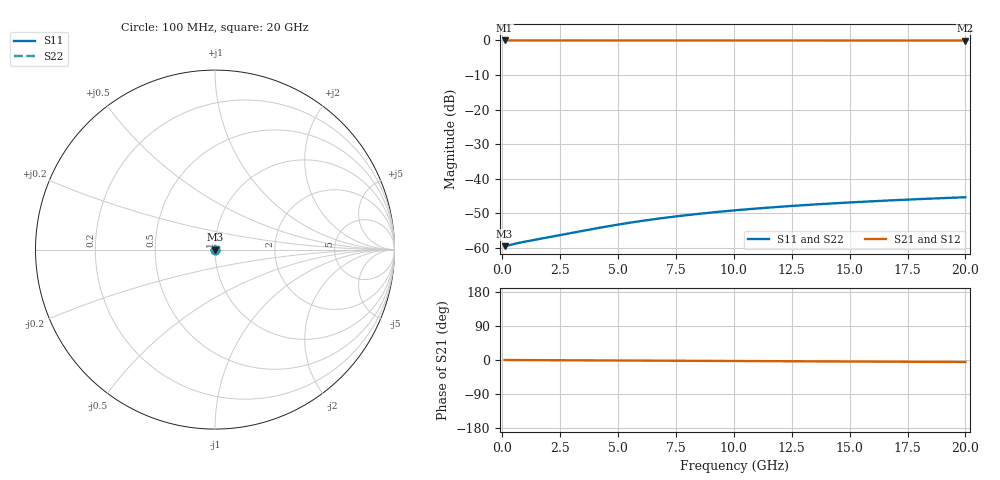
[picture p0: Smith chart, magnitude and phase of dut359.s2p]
! Touchstone file exported from HFSS 2026.1.0
!  File:  C:/ffzhzh/LocalFiles/Ansys_Project_Files/temp_train_TSV_359_1783019278_51716.aedt
!  Generated:  03:10:11 AM Jul  3, 2026
!  Design:  TSV
!  Project:  temp_train_TSV_359_1783019278_51716
! Variables:
!  h_bsmrdl = 2um
!  h_ox = 20um
!  h_rdl = 5um
!  h_sub = 57.02um
!  h_tmrdl = 5um
!  h_tsv = 57.02um
!  h_via = 3um
!  l_bsmrdl = 300um
!  l_sub = 405.06um
!  l_tmrdl = 200um
!  m_sub = 200um
!  pitch = 10.94um
!  r_tsv = 2.53um
!  s_tmrdl = 10um
!  w_bsmrdl = 18um
!  w_sub = 500um
!  w_tmrdl = 12um
!  x_tsv_center1 = 206um
!  x_tsv_center2 = 524um
!  x_tsv_center3 = 736um
!  x_tsv_center4 = 1054um
!  x_tsv_center5 = 1266um
!  x_tsv_center6 = 1584um
# GHz S MA R 50.000000
! Terminal data exported
! Port[1] = TSV1_1_T1
! Port[2] = TSV1_1_T2
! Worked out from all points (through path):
!   200 points, 100 MHz to 20 GHz, reference 50 ohm
!   highest |S21| = -0.01 dB at 100 MHz (marker M1); lowest = 0.0 dB at 20 GHz (marker M2)
!   lowest |S11| = -59.5 dB at 100 MHz (marker M3), VSWR 1.00, Z = 50.1 + j0.00546 ohm
!   |S11| at or under -10 dB: start of sweep to end of sweep
!   |S22| runs from -59.5 to -45.4 dB; largest |S21 - S12| = 4.6e-15
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0.1  0.001054 3.0  0.9989 -0.0  0.9989 -0.0  0.001054 3.0
! Gamma 0 0 0 0
! Port Impedance 50 0 50 0
0.2  0.001068 5.7  0.9989 -0.1  0.9989 -0.1  0.001068 5.7
0.6  0.001153 13.4  0.9989 -0.2  0.9989 -0.2  0.001153 13.4
0.9  0.001211 17.4  0.9988 -0.2  0.9988 -0.2  0.001211 17.4
2.1  0.001434 30.1  0.9988 -0.6  0.9988 -0.6  0.001434 30.1
3.5  0.001763 40.1  0.9987 -0.9  0.9987 -0.9  0.001763 40.1
4.4  0.002001 44.1  0.9986 -1.2  0.9986 -1.2  0.002001 44.1
5.2  0.002219 46.6  0.9985 -1.4  0.9985 -1.4  0.002219 46.6
6  0.002438 48.3  0.9984 -1.6  0.9984 -1.6  0.002438 48.3
6.8  0.002655 49.4  0.9983 -1.8  0.9983 -1.8  0.002655 49.4
7.6  0.002868 50.2  0.9982 -2.0  0.9982 -2.0  0.002868 50.2
8.4  0.003075 50.6  0.9981 -2.3  0.9981 -2.3  0.003075 50.6
9.2  0.003275 50.9  0.998 -2.5  0.998 -2.5  0.003275 50.9
10.1  0.003492 51.0  0.9979 -2.7  0.9979 -2.7  0.003492 51.0
10.9  0.003677 51.0  0.9978 -2.9  0.9978 -2.9  0.003677 51.0
11.7  0.003855 51.0  0.9977 -3.1  0.9977 -3.1  0.003855 51.0
12.5  0.004027 50.8  0.9976 -3.3  0.9976 -3.3  0.004027 50.8
13.4  0.004212 50.7  0.9975 -3.6  0.9975 -3.6  0.004212 50.7
15  0.004524 50.3  0.9974 -4.0  0.9974 -4.0  0.004524 50.3
16.7  0.004834 49.9  0.9972 -4.4  0.9972 -4.4  0.004834 49.9
18.3  0.005108 49.6  0.997 -4.9  0.997 -4.9  0.005108 49.6
20  0.005385 49.2  0.9969 -5.3  0.9969 -5.3  0.005385 49.2
